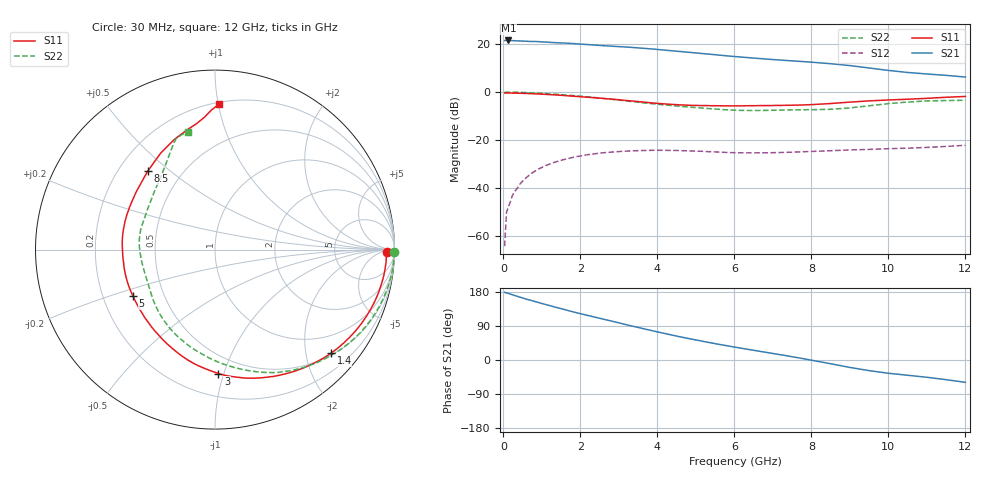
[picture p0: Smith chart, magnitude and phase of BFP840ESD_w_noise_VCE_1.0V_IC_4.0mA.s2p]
! Infineon Technologies  Discrete & RF Semiconductors
! BFP840ESD
! VCE =  1.0 V,  IC =  4.0 mA
! Common Emitter S-Parameters:  May 2012
# GHz  S  MA  R  50
!  f  S11  S21  S12  S22
! GHz  MAG  ANG  MAG  ANG  MAG  ANG  MAG  ANG
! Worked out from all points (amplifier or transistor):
!   93 points, 30 MHz to 12 GHz, reference 50 ohm
!   highest |S21| = 21.6 dB at 130 MHz (marker M1)
!   |S21| within 3 dB of that: start of sweep to 3.412 GHz
!   unconditionally stable (mu >= 1): 6.279 GHz to 10.8 GHz
!   at 1.1 GHz: K = 0.16, MSG = 25.8 dB, |S12| = -30.7 dB
!   at 4.2 GHz: K = 0.54, MSG = 20.9 dB, |S12| = -24.4 dB
!   at 12 GHz: K = 0.74, MSG = 14.3 dB, |S12| = -22.2 dB
!   lowest NFmin = 0.52 dB at 450 MHz
!   S11 on the Smith chart (normalised r, x): 30 MHz: 40, -14; 1.4 GHz: 0.54, -2.52; 3 GHz: 0.36, -0.96; 5 GHz: 0.33, -0.24; 8.5 GHz: 0.32, +0.42; 12 GHz: 0.21, +1.01
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0.03  0.956 -0.9  11.96 178.5  0.0006 63.1  0.9965 -0.7
0.08  0.9551 -2.5  12 176.9  0.0031 88.2  0.9978 -2.2
0.13  0.9558 -4.0  12 175.5  0.004 92.3  0.9971 -3.6
0.5  0.9414 -15.2  11.65 163.6  0.0138 77.3  0.9817 -13.9
0.8  0.9207 -24.2  11.44 154.8  0.0218 70.5  0.9595 -22.1
1.1  0.8954 -33.0  11.11 146.4  0.0291 63.5  0.9309 -30.1
1.4  0.8669 -41.8  10.73 138.1  0.0354 56.9  0.8965 -38.0
1.7  0.8325 -50.7  10.48 130.0  0.0413 50.6  0.8584 -45.8
2.1  0.789 -62.2  9.956 119.8  0.0478 42.5  0.8062 -55.9
2.5  0.7467 -73.6  9.453 110.1  0.0529 35.1  0.7517 -65.7
3  0.6907 -88.4  8.907 98.0  0.057 26.7  0.6792 -78.1
3.5  0.6333 -103.9  8.392 85.9  0.0596 19.2  0.6128 -91.3
4.1  0.5719 -122.9  7.65 71.9  0.0606 11.1  0.5466 -107.5
4.5  0.5451 -135.6  7.156 63.1  0.0601 6.8  0.5112 -118.0
5  0.5254 -150.6  6.579 52.9  0.0583 2.5  0.4735 -130.2
5.6  0.517 -166.6  5.934 41.3  0.0556 -0.7  0.4362 -143.9
6.1  0.5147 -178.0  5.462 32.5  0.054 -0.9  0.4162 -155.2
7.5  0.5315 153.8  4.494 8.6  0.0555 -0.2  0.4245 173.8
8.5  0.5759 130.6  3.919 -9.9  0.0594 -1.7  0.4366 150.1
9.5  0.6548 110.1  3.187 -28.1  0.0633 -4.8  0.5164 124.7
10.5  0.7087 98.4  2.571 -40.3  0.0671 -7.7  0.6186 112.7
12  0.8102 88.4  2.063 -59.0  0.0772 -12.0  0.6738 102.7
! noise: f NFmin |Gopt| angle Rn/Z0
0.45  0.52  0.53  2  0.24
0.9  0.54  0.52  6  0.23
1.5  0.57  0.52  16  0.19
1.9  0.61  0.5  18  0.18
2.4  0.64  0.46  32  0.16
3.5  0.7  0.36  58  0.13
5.5  0.85  0.26  115  0.1
8  1.05  0.38  -147  0.06
10  1.25  0.52  -105  0.16
12  1.49  0.58  -82  0.27
